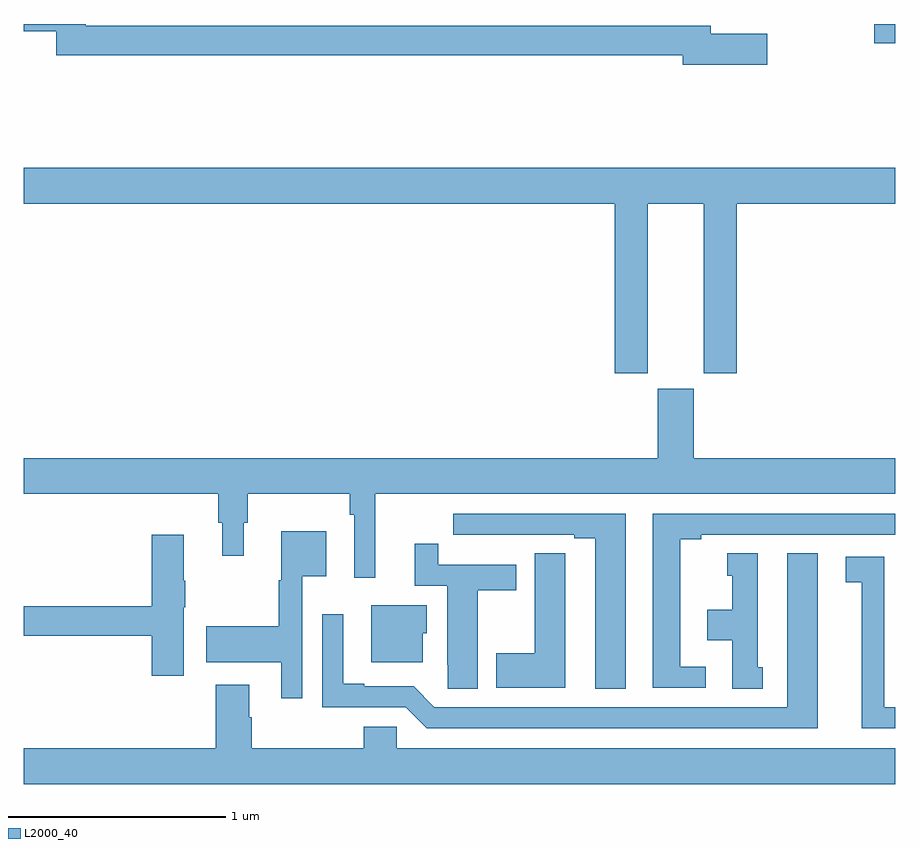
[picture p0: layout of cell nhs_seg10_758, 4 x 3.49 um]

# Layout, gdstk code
import gdstk
lib = gdstk.Library(unit=1e-6, precision=1e-09)
def R(c, l, rs):  # rectangles x0, y0, x1, y1
    for r in rs: c.add(gdstk.rectangle(r[:2], r[2:], *l))
def P(c, l, *ps):  # polygons
    for p in ps: c.add(gdstk.Polygon(p, *l))
L2000_40 = (2000, 40)

nhs_seg10_758 = lib.new_cell('nhs_seg10_758')
R(nhs_seg10_758, L2000_40, [(152.904,1274.411,153,1274.5)])
P(nhs_seg10_758, L2000_40, [(152.413,1274.456),(152.152,1274.456),(152.152,1274.492),(149.285,1274.492),(149.285,1274.5),(149,1274.5),(149,1274.467),(149.149,1274.467),(149.149,1274.356),(152.024,1274.356),(152.024,1274.314),(152.413,1274.314)],
  [(151.864,1273.676),(152.12,1273.676),(152.12,1272.897),(152.273,1272.897),(152.273,1273.676),(153,1273.676),(153,1273.84),(149,1273.84),(149,1273.676),(151.712,1273.676),(151.712,1272.897),(151.864,1272.897)],
  [(150.614,1272.344),(153,1272.344),(153,1272.508),(152.074,1272.508),(152.074,1272.825),(151.91,1272.825),(151.91,1272.508),(149,1272.508),(149,1272.344),(149.893,1272.344),(149.893,1272.21),(149.912,1272.21),(149.912,1272.06),(150.01,1272.06),(150.01,1272.21),(150.029,1272.21),(150.029,1272.344),(150.496,1272.344),(150.496,1272.248),(150.516,1272.248),(150.516,1271.958),(150.614,1271.958)],
  [(152.131,1271.55),(152.014,1271.55),(152.014,1272.136),(152.11,1272.136),(152.11,1272.156),(153,1272.156),(153,1272.252),(151.886,1272.252),(151.886,1271.454),(152.131,1271.454)],
  [(151.762,1272.252),(150.972,1272.252),(150.972,1272.156),(151.084,1272.156),(151.084,1272.155),(151.25,1272.155),(151.25,1272.156),(151.526,1272.156),(151.526,1272.141),(151.622,1272.141),(151.622,1271.449),(151.762,1271.449)],
  [(150.279,1271.966),(150.388,1271.966),(150.388,1272.172),(150.182,1272.172),(150.182,1271.946),(150.171,1271.946),(150.171,1271.736),(149.838,1271.736),(149.838,1271.57),(150.182,1271.57),(150.182,1271.406),(150.279,1271.406)],
  [(149.734,1271.824),(149.742,1271.824),(149.742,1271.944),(149.734,1271.944),(149.734,1272.157),(149.588,1272.157),(149.588,1271.828),(149,1271.828),(149,1271.692),(149.588,1271.692),(149.588,1271.508),(149.734,1271.508)],
  [(151.084,1271.902),(151.261,1271.902),(151.261,1272.018),(150.902,1272.018),(150.902,1272.115),(150.794,1272.115),(150.794,1271.922),(150.944,1271.922),(150.944,1271.56),(150.945,1271.56),(150.945,1271.449),(151.084,1271.449)],
  [(151.486,1271.963),(151.485,1271.963),(151.485,1272.071),(151.346,1272.071),(151.346,1271.613),(151.169,1271.613),(151.169,1271.453),(151.486,1271.453)],
  [(152.392,1271.547),(152.368,1271.547),(152.368,1272.07),(152.228,1272.07),(152.228,1271.967),(152.252,1271.967),(152.252,1271.812),(152.138,1271.812),(152.138,1271.672),(152.252,1271.672),(152.252,1271.449),(152.392,1271.449)],
  [(152.644,1272.07),(152.504,1272.07),(152.504,1271.364),(150.885,1271.364),(150.789,1271.46),(150.562,1271.46),(150.562,1271.473),(150.466,1271.473),(150.466,1271.791),(150.369,1271.791),(150.369,1271.364),(150.753,1271.364),(150.849,1271.268),(152.644,1271.268)],
  [(153,1271.364),(152.95,1271.364),(152.95,1272.054),(152.772,1272.054),(152.772,1271.938),(152.846,1271.938),(152.846,1271.268),(153,1271.268)],
  [(150.832,1271.703),(150.85,1271.703),(150.85,1271.833),(150.596,1271.833),(150.596,1271.57),(150.832,1271.57)],
  [(153,1271.176),(150.711,1271.176),(150.711,1271.274),(150.56,1271.274),(150.56,1271.176),(150.047,1271.176),(150.047,1271.318),(150.034,1271.318),(150.034,1271.467),(149.882,1271.467),(149.882,1271.176),(149,1271.176),(149,1271.012),(153,1271.012)])

lib.write_gds('nhs_seg10_758.gds')
